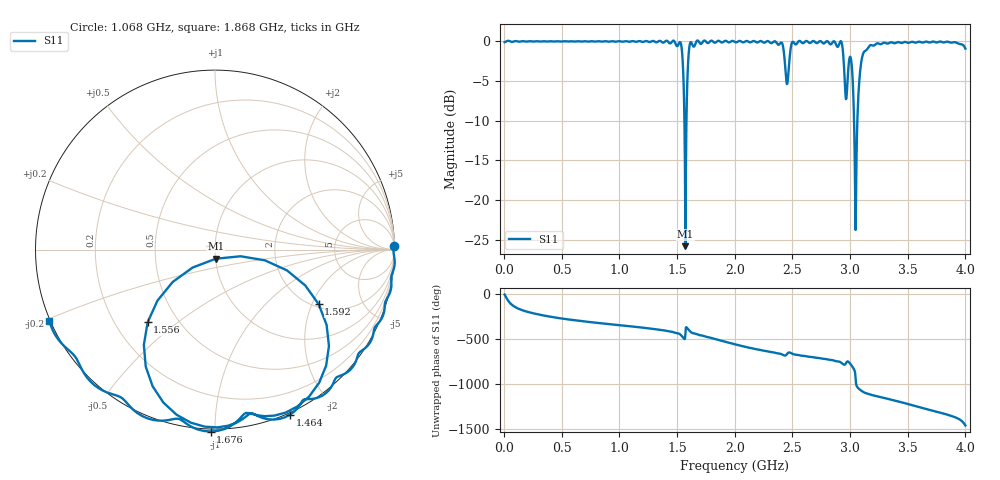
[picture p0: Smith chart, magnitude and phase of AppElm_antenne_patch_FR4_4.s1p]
! TOUCHSTONE file generated by CST MICROWAVE STUDIO
! Date and time: Tue Jun  7 22:11:15 2022
! Project name: AppElm_antenne_patch_FR4.cst
! Parameters = {L=45; W=58.5; e=0.035; h=1.6; lambda=0.190476; ls=120; w0=1.6; w1=0.47975; ws=120; y0=20; y1=23.81}
! Header version: 2018
! Port assignment regex: !\s*Touchstone port\s*([0-9]+)\s*=\s*(CST MWS port|CST DS port)\s*([0-9]+|Zmin|Zmax)\s*\(\"(.*)\"\)(\s*mode\s*([0-9]+))?.*
! Touchstone port assignment:
! Touchstone port 1 = CST MWS port 1 ("")
# GHz S MA R 50
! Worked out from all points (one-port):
!   1000 points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, 4 MHz to 4 GHz, reference 50 ohm
!   lowest |S11| = -25.8 dB at 1.572 GHz (marker M1), VSWR 1.11, Z = 50.2 - j5.12 ohm
!   |S11| at or under -10 dB: 1.563 GHz to 1.581 GHz (17.82 MHz wide, 1.13 % of centre); 3.034 GHz to 3.063 GHz (28.97 MHz wide, 0.95 % of centre)
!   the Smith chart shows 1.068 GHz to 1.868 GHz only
!   S11 on the Smith chart (normalised r, x): 1.068 GHz: 1, +92; 1.464 GHz: -0.02, -1.55; 1.556 GHz: 0.34, -0.39; 1.592 GHz: 2.12, -2.25; 1.676 GHz: -0.01, -0.98; 1.868 GHz: -0.00, -0.21
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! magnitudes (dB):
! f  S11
! 4 MHz  -0.1
! 504 MHz  0.0
! 1.004 GHz  0.0
! 1.068 GHz  0.0
! 1.464 GHz  0.1
! 1.504 GHz  -0.6
! 1.536 GHz  -0.5
! 1.556 GHz  -5.2
! 1.572 GHz  -25.8
! 1.592 GHz  -3.7
! 1.6 GHz  -1.6
! 1.612 GHz  -0.2
! 1.676 GHz  0.1
! 1.868 GHz  0.0
! 2.004 GHz  -0.1
! 2.4 GHz  -0.2
! 2.452 GHz  -5.4
! 2.504 GHz  0.0
! 2.916 GHz  0.0
! 2.968 GHz  -7.2
! 3.004 GHz  -2.0
! 3.016 GHz  -3.3
! 3.036 GHz  -11.1
! 3.052 GHz  -18.8
! 3.088 GHz  -3.6
! 3.12 GHz  -1.3
! 3.504 GHz  -0.2
! 4 GHz  -0.9
